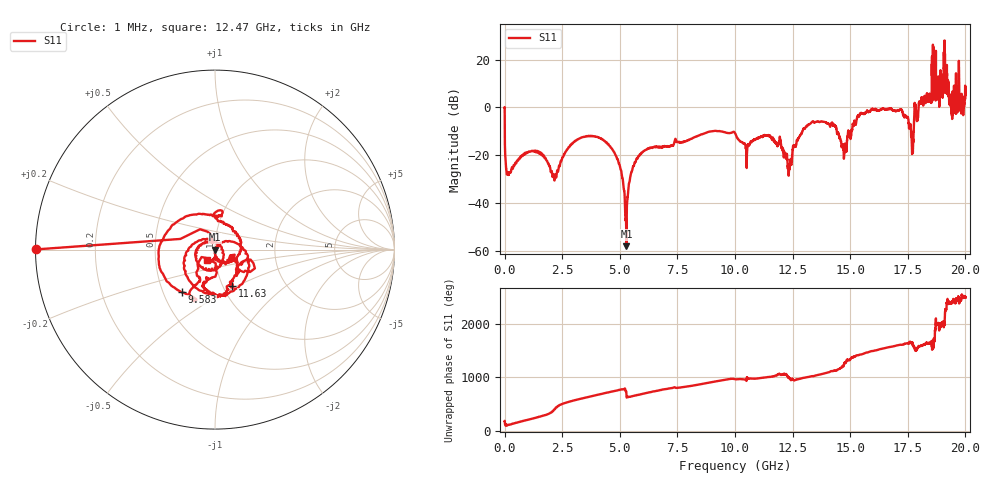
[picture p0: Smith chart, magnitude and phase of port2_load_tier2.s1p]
! Created with skrf 1.8.0 (http://scikit-rf.org).
# GHz S RI R 50.0
!freq ReS11 ImS11
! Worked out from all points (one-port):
!   10001 points, 1 MHz to 20 GHz, reference 50 ohm
!   lowest |S11| = -58.0 dB at 5.287 GHz (marker M1), VSWR 1.00, Z = 50.1 - j0.0779 ohm
!   |S11| at or under -10 dB: 8.172 MHz to 8.995 GHz (8.987 GHz wide, 200 % of centre); 9.406 GHz to 12.93 GHz (3.52 GHz wide, 31.5 % of centre); 14.42 GHz to 14.91 GHz (493.3 MHz wide, 3.36 % of centre) (the widest 3 of 10)
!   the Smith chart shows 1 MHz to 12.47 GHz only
!   S11 on the Smith chart (normalised r, x): 1 MHz: 0.00, +0.00; 9.583 GHz: 0.62, -0.32; 11.63 GHz: 1.11, -0.47; 12.47 GHz: 0.93, -0.13
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0.001  -0.9998 0.000828
0.1749913  -0.0139 0.0379
2.500875  -0.0658 0.0583
5.00075  0.0424 0.0422
5.286736  0.000997 -0.000777
5.80871  0.0634 -0.0733
7.500625  0.0272 0.1898
9.582521  -0.186 -0.2368
10.0005  -0.1364 -0.2593
11.63242  0.0948 -0.2003
12.47038  -0.0325 -0.067
12.50038  -0.0675 -0.112
15.00025  -0.0845 -0.2284
15.67422  0.7672 0.1873
16.40218  -0.0452 0.9427
17.50013  -0.5929 -0.1646
17.84211  0.5246 0.7925
18.0621  -1.044 0.6626
18.44008  -1.676 -0.4386
18.52407  -1.312 -0.6528
18.64207  -1.474 -2.395
18.72606  -1.386 -0.8354
18.77206  -1.328 -0.6581
18.96005  -3.69 -0.3116
18.99805  -1.747 -1.272
19.20004  -5.025 -4.613
19.28804  -0.8025 -1.713
20  2.044 -1.708
